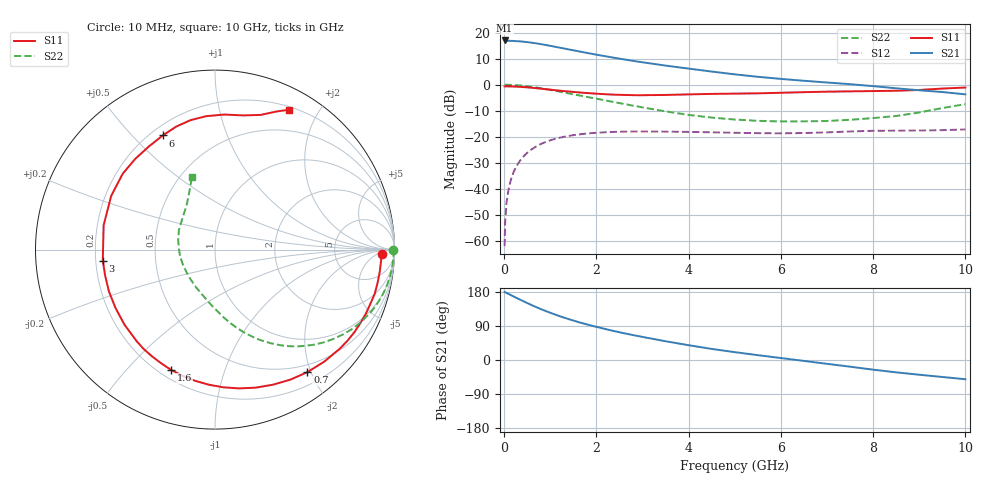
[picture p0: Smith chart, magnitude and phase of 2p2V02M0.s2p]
! (c) 2009  Infineon Technologies AG, Munich
! Infineon Technologies  Discrete & RF Semiconductors
! BFP420
! VCE =  2.0 V,  IC =  2.0 mA
! Common Emitter S-Parameters:  Nov 2009
# GHz  S  MA  R  50
!  f  S11  S21  S12  S22
! GHz  MAG  ANG  MAG  ANG  MAG  ANG  MAG  ANG
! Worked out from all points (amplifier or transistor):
!   46 points, 10 MHz to 10 GHz, reference 50 ohm
!   highest |S21| = 17.0 dB at 10 MHz (marker M1)
!   |S21| within 3 dB of that: start of sweep to 1.275 GHz
!   unconditionally stable (mu >= 1): 3.924 GHz to end of sweep
!   at 300 MHz: K = 0.04, MSG = 23.5 dB, |S12| = -30.3 dB
!   at 1.7 GHz: K = 0.36, MSG = 15.7 dB, |S12| = -18.9 dB
!   at 10 GHz: K = 1.23, MAG = 3.9 dB, |S12| = -17.2 dB
!   lowest NFmin = 0.53 dB at 900 MHz
!   S11 on the Smith chart (normalised r, x): 10 MHz: 24, -9; 700 MHz: 0.38, -1.95; 1.6 GHz: 0.25, -0.67; 3 GHz: 0.23, -0.05; 6 GHz: 0.25, +0.61; 10 GHz: 0.24, +1.63
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0.01  0.9295 -1.6  7.046 179.3  0.0008 66.6  0.9943 0.0
0.02  0.9288 -1.3  6.852 179.1  0.0022 91.3  0.995 -0.8
0.05  0.9273 -3.9  6.891 177.0  0.0054 88.4  0.9952 -2.2
0.15  0.9245 -11.6  6.917 171.0  0.0154 83.6  0.9902 -6.8
0.3  0.9131 -23.1  6.812 161.9  0.0305 76.9  0.9728 -13.5
0.45  0.8958 -34.5  6.627 153.2  0.0448 70.2  0.9454 -20.0
0.7  0.8551 -53.0  6.197 139.3  0.0658 59.9  0.8825 -30.1
0.9  0.8187 -66.9  5.772 129.3  0.0796 52.4  0.8249 -37.2
1.1  0.785 -80.1  5.344 120.2  0.0911 45.8  0.7662 -43.7
1.4  0.7392 -98.7  4.744 107.8  0.1041 36.9  0.6805 -52.3
1.6  0.7137 -110.0  4.387 100.4  0.1105 31.8  0.6286 -57.2
1.7  0.7006 -115.4  4.225 97.0  0.1133 29.4  0.6046 -59.5
2.2  0.6553 -140.3  3.504 81.5  0.1224 19.2  0.4979 -69.8
2.6  0.6353 -158.5  3.053 70.6  0.1257 12.4  0.4262 -77.3
3  0.6283 -174.4  2.686 60.9  0.1266 6.8  0.3676 -84.4
3.5  0.6351 167.7  2.323 49.5  0.1258 1.2  0.3075 -94.2
4.5  0.6656 140.6  1.784 29.2  0.1221 -6.6  0.2337 -117.4
5.5  0.6825 122.7  1.416 12.8  0.1175 -10.5  0.2025 -141.7
6  0.6994 114.6  1.29 5.2  0.1166 -11.2  0.1972 -155.2
7  0.734 100.7  1.101 -10.1  0.1218 -12.6  0.2013 178.5
8.5  0.7641 78.1  0.852 -32.6  0.1313 -19.9  0.2508 136.5
10  0.8804 62.2  0.652 -50.8  0.1386 -24.1  0.4233 107.7
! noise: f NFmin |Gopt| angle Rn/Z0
0.9  0.53  0.47  33  0.22
1.8  1.03  0.29  77  0.17
2.4  1.13  0.31  102  0.16
3  1.32  0.31  136  0.12
4  1.57  0.37  -168  0.1
5  1.96  0.42  -129  0.28
6  2.72  0.51  -111  0.37
